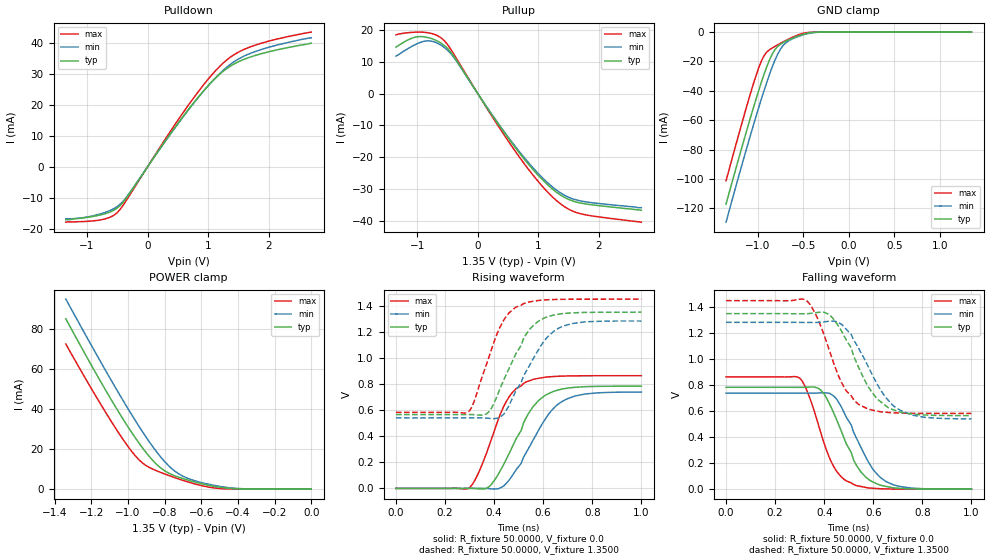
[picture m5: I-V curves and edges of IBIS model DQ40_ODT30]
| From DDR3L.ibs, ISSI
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|   Model DQ40_ODT30
[Model]  DQ40_ODT30
Model_type I/O
Polarity   Non-Inverting
Enable   Active-High
Vinl = 515.0mV
Vinh = 835.0mV
Vmeas = 675.0mV
Vref = 675.0mV
Cref = 0.0pF
Rref = 25.0Ohm
C_comp   1.3000pF   1.2000pF   1.4000pF
[Model Spec]
| Input threshold voltage corners
Vinl   0.5150V   0.4815V   0.5650V
Vinh   0.8350V   0.8015V   0.8850V
| Measurement voltage corners
Vmeas   0.6750V   0.6415V   0.7250V
| Timing spec test load voltage corners
Vref   0.6750V   0.6415V   0.7250V
[Receiver Thresholds]
Vth   =  0.675V
Vth_min  =  0.6615V
Vth_max  =  0.6885V
Vinh_ac  =  0.160V
Vinh_dc  =  0.090V
Vinl_ac  = -0.160V
Vinl_dc  = -0.090V
Tslew_ac =  5.0ns
Threshold_sensitivity = 0.50
Reference_supply Pullup_ref
[Add Submodel]
| Submodel Name   Mode
ODT30ohm   Non-Driving
[Temperature Range]   50.0000   125   -40.0000
[Voltage Range]   1.3500V   1.2830V   1.4500V
[Pullup Reference]   1.3500V   1.2830V   1.4500V
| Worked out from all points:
|   slope of the pulldown table from 0 to 0.203 V, typ, clamps not added: 34.9 ohm
|   slope of the pullup table from 0 to 0.203 V, typ, clamps not added: 34.7 ohm
|   GND clamp passes 1 mA (typ) near -0.47 V on its own axis
|   POWER clamp passes 1 mA (typ) near -0.50 V on its own axis
|   rising waveform, R_fixture 50.0000, V_fixture 0.0: 20-80 % time 128ps typ, 140ps min, 109ps max; typ from 0 V to 0.783 V
|   rising waveform, R_fixture 50.0000, V_fixture 1.3500: 20-80 % time 120ps typ, 132ps min, 102ps max; typ from 0.565 V to 1.35 V
|   falling waveform, R_fixture 50.0000, V_fixture 0.0: 20-80 % time 112ps typ, 120ps min, 96ps max; typ from 0.783 V to 0 V
|   falling waveform, R_fixture 50.0000, V_fixture 1.3500: 20-80 % time 127ps typ, 134ps min, 109ps max; typ from 1.35 V to 0.566 V
[Pulldown]
|Voltage   I(typ)   I(min)   I(max)
-1.35V    -17.1mA    -16.8mA    -17.9mA
-1.1V     -16.6mA    -16.55mA   -17.72mA
-750mV    -15.43mA   -15.06mA   -17.06mA
-500mV    -13.31mA   -12.82mA   -14.79mA
-350mV    -10.09mA   -9.861mA   -10.82mA
300mV     8.528mA    8.417mA    9.15mA
750mV     20.38mA    20.24mA    21.95mA
1.1V      28.2mA     28.29mA    30.53mA
1.35V     32.25mA    32.81mA    35.12mA
1.55V     34.32mA    35.29mA    37.47mA
1.85V     36.32mA    37.66mA    39.69mA
2.7V      39.87mA    41.6mA     43.44mA
[Pullup]
|Voltage   I(typ)   I(min)   I(max)
-1.35V    14.57mA    11.74mA    18.44mA
-1.1V     17.29mA    14.69mA    19.21mA
-900mV    17.87mA    16.36mA    19.27mA
-750mV    17.19mA    16.41mA    18.81mA
-550mV    15.09mA    14.47mA    16.58mA
-350mV    10.4mA     10.16mA    10.97mA
200mV     -5.762mA   -5.638mA   -6.111mA
650mV     -17.77mA   -17.38mA   -18.98mA
1.05V     -26.77mA   -26.17mA   -28.83mA
1.35V     -31.72mA   -31.04mA   -34.46mA
1.7V      -34.45mA   -33.79mA   -37.81mA
2.7V      -36.7mA    -35.9mA    -40.46mA
[GND_clamp]
|Voltage   I(typ)   I(min)   I(max)
-1.35V    -117.1mA   -129.4mA   -101.2mA
-1.08V    -57.93mA   -69.88mA   -41.5mA
-1.02V    -45.58mA   -57.36mA   -29.58mA
-960mV    -33.86mA   -45.27mA   -19.5mA
-900mV    -23.24mA   -33.83mA   -13.46mA
-840mV    -14.74mA   -23.41mA   -10.74mA
-810mV    -11.75mA   -18.81mA   -9.661mA
-750mV    -8.206mA   -11.48mA   -7.6mA
-690mV    -6.151mA   -7.182mA   -5.641mA
-510mV    -1.654mA   -2.029mA   -975.4uA
-330mV    -49.01uA   -123.8uA   -4.934uA
1.35V     3.868nA    191.1nA    362.8pA
[POWER_clamp]
|Voltage   I(typ)   I(min)   I(max)
-1.34V    85.33mA    95.18mA    72.7mA
-1.1V     46.03mA    55.77mA    35.14mA
-1.02V    34mA       43.27mA    23.9mA
-960mV    25.64mA    34.29mA    16.65mA
-900mV    18.14mA    25.83mA    11.71mA
-840mV    12.06mA    18.18mA    9.048mA
-800mV    9.184mA    13.77mA    7.615mA
-740mV    6.524mA    8.687mA    5.621mA
-640mV    3.693mA    4.333mA    2.742mA
-460mV    521.1uA    870.3uA    118.9uA
-320mV    22.42uA    75.35uA    910.1nA
0V        3.868nA    46.22nA    484.7pA
[Ramp]
| variable   typ   min   max
dV/dt_r  0.4700/0.1279n   0.4429/0.1404n   0.5179/0.1089n
dV/dt_f  0.4706/0.1269n   0.4456/0.1342n   0.5206/0.1088n
R_load = 50.0000
[Rising Waveform]
R_fixture= 50.0000
V_fixture= 0.0
V_fixture_min= 0.0
V_fixture_max= 0.0
|time   V(typ)   V(min)   V(max)
0s        0V         1.207uV    0V
300ps     715.4uV    69.6uV     6.142mV
340ps     -3.422mV   692.5uV    133.5mV
390ps     32.92mV    -3.453mV   381.5mV
460ps     262.1mV    60.79mV    697.8mV
530ps     538.8mV    272.3mV    814.9mV
600ps     701mV      505.7mV    849mV
690ps     765.1mV    679.2mV    860.6mV
780ps     779.7mV    724.7mV    862.7mV
1ns       783.3mV    738.1mV    863.2mV
[Rising Waveform]
R_fixture= 50.0000
V_fixture= 1.3500
V_fixture_min= 1.2830
V_fixture_max= 1.4500
|time   V(typ)   V(min)   V(max)
0s        565.4mV    539.7mV    582.4mV
300ps     565.8mV    539.8mV    594.3mV
380ps     589.4mV    536.8mV    1.012V
440ps     833.8mV    569.5mV    1.291V
490ps     1.036V     752.3mV    1.389V
560ps     1.248V     995mV      1.434V
610ps     1.309V     1.143V     1.444V
660ps     1.333V     1.224V     1.448V
770ps     1.348V     1.275V     1.449V
1ns       1.35V      1.282V     1.45V
[Falling Waveform]
R_fixture= 50.0000
V_fixture= 0.0
V_fixture_min= 0.0
V_fixture_max= 0.0
|time   V(typ)   V(min)   V(max)
0s        783.4mV    738.4mV    863.2mV
300ps     783.2mV    738.3mV    854.1mV
340ps     785.1mV    738.2mV    707.5mV
400ps     730.9mV    741.2mV    350.3mV
450ps     536.8mV    694.1mV    138.3mV
520ps     223.5mV    435.9mV    36.08mV
600ps     53.73mV    148.7mV    6.784mV
650ps     21.84mV    60.55mV    2.268mV
760ps     2.39mV     7.785mV    211.2uV
1ns       22.96uV    85.37uV    2.541uV
[Falling Waveform]
R_fixture= 50.0000
V_fixture= 1.3500
V_fixture_min= 1.2830
V_fixture_max= 1.4500
|time   V(typ)   V(min)   V(max)
0s        1.35V      1.283V     1.45V
320ps     1.349V     1.282V     1.459V
370ps     1.358V     1.282V     1.325V
450ps     1.277V     1.288V     911.4mV
490ps     1.147V     1.229V     755.8mV
540ps     937mV      1.084V     652.1mV
590ps     757.5mV    901.2mV    610.9mV
660ps     628mV      685.6mV    590.3mV
760ps     576.8mV    569.3mV    583.6mV
1ns       565.7mV    540.4mV    582.4mV
